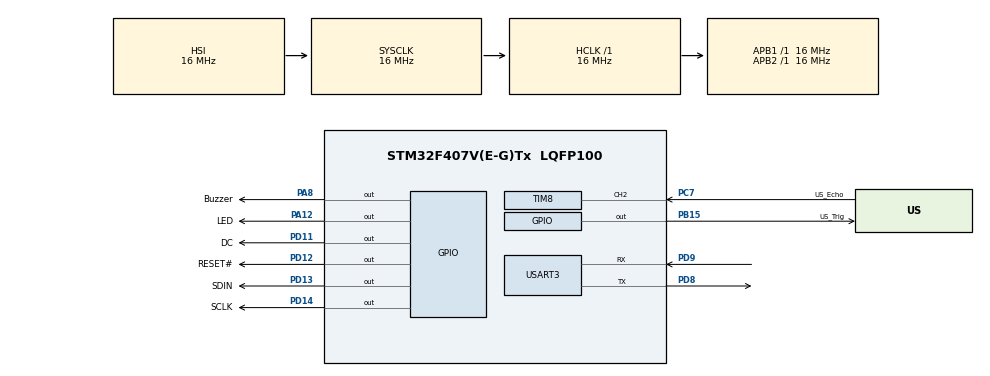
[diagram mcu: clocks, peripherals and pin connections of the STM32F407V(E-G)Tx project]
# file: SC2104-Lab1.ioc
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Mcu.Family=STM32F4
Mcu.Name=STM32F407V(E-G)Tx
Mcu.Package=LQFP100
NVIC.PriorityGroup=NVIC_PRIORITYGROUP_4
NVIC.TIM8_CC_IRQn=true\:0\:0\:false\:false\:true\:true\:true\:true
PA12.GPIO_Label=LED
PA12.Signal=GPIO_Output
PA13.Signal=SYS_JTMS-SWDIO
PA14.Signal=SYS_JTCK-SWCLK
PA8.GPIO_Label=Buzzer
PA8.Signal=GPIO_Output
PB15.GPIO_Label=US_Trig
PB15.Signal=GPIO_Output
PC7.GPIO_Label=US_Echo
PC7.Signal=S_TIM8_CH2
PD11.GPIO_Label=DC
PD11.Signal=GPIO_Output
PD12.GPIO_Label=RESET\#
PD12.Signal=GPIO_Output
PD13.GPIO_Label=SDIN
PD13.Signal=GPIO_Output
PD14.GPIO_Label=SCLK
PD14.Signal=GPIO_Output
PD8.Mode=Asynchronous
PD8.Signal=USART3_TX
PD9.Mode=Asynchronous
PD9.Signal=USART3_RX
ProjectManager.HeapSize=0x200
ProjectManager.StackSize=0x400
ProjectManager.TargetToolchain=STM32CubeIDE
RCC.AHBFreq_Value=16000000
RCC.APB1Freq_Value=16000000
RCC.APB2Freq_Value=16000000
RCC.CortexFreq_Value=16000000
RCC.HSE_VALUE=25000000
RCC.HSI_VALUE=16000000
RCC.LSE_VALUE=32768
RCC.SYSCLKFreq_VALUE=16000000
RCC.VCOOutputFreq_Value=192000000
SH.S_TIM8_CH2.0=TIM8_CH2,Input_Capture2_from_TI2
TIM8.Channel-Input_Capture2_from_TI2=TIM_CHANNEL_2
TIM8.ICPolarity_CH2=TIM_INPUTCHANNELPOLARITY_BOTHEDGE
USART3.VirtualMode=VM_ASYNC
VP_TIM6_VS_ClockSourceINT.Mode=Enable_Timer
VP_TIM8_VS_ClockSourceINT.Mode=Internal
board=custom

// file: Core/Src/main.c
/* USER CODE BEGIN Header */
/**
  ******************************************************************************
  * @file           : main.c
  * @brief          : Main program body
  ******************************************************************************
  * @attention
  *
  * Copyright (c) 2023 STMicroelectronics.
  * All rights reserved.
  *
  * This software is licensed under terms that can be found in the LICENSE file
  * in the root directory of this software component.
  * If no LICENSE file comes with this software, it is provided AS-IS.
  *
  ******************************************************************************
  */
/* USER CODE END Header */
#include "main.h"

/* USER CODE BEGIN Includes */
#include "oled.h"
#include <string.h>

/* USER CODE END Includes */

/* USER CODE BEGIN PTD */
#define ECHO_Port 	GPIOC
#define ECHO_Pin	GPIO_PIN_7
#define TRIG_Port	GPIOB
#define TRIG_Pin	GPIO_PIN_15
/* USER CODE END PTD */

 TIM_HandleTypeDef htim6;
TIM_HandleTypeDef htim8;

UART_HandleTypeDef huart3;

/* USER CODE BEGIN PV */
float echo =0;
float tc1, tc2;

/* USER CODE END PV */

void SystemClock_Config(void);
static void MX_GPIO_Init(void);
static void MX_USART3_UART_Init(void);
static void MX_TIM6_Init(void);
static void MX_TIM8_Init(void);
/* USER CODE BEGIN PFP */
void delay_us(uint16_t us);

/* USER CODE END PFP */

/* USER CODE BEGIN 0 */
float speedOfSound = 0.0343/2;
float distance;

/* USER CODE END 0 */

int main(void)
{
  /* USER CODE BEGIN 1 */
	uint8_t sbuf[15] = "Hello World! \n\r";
	uint8_t *OLED_buf;
	char buf[15];

	uint32_t numTicks;
  /* USER CODE END 1 */

  /* MCU Configuration--------------------------------------------------------*/

  /* Reset of all peripherals, Initializes the Flash interface and the Systick. */
  HAL_Init();

  /* Configure the system clock */
  SystemClock_Config();

  /* Initialize all configured peripherals */
  MX_GPIO_Init();
  MX_USART3_UART_Init();
  MX_TIM6_Init();
  MX_TIM8_Init();
  /* USER CODE BEGIN 2 */
  OLED_Init();
  OLED_ShowString(10,5, "SC2104");
  OLED_Refresh_Gram();

  /* USER CODE END 2 */

  /* Infinite loop */
  /* USER CODE BEGIN WHILE */
  while (1)
  {
	  //LED
	  /*
	  HAL_GPIO_WritePin(GPIOA, GPIO_PIN_12, GPIO_PIN_SET);
	  HAL_Delay(1000);
	  HAL_GPIO_WritePin(GPIOA, GPIO_PIN_12, GPIO_PIN_RESET);
	  HAL_Delay(1000);*/

	  //Buzzer
	  /*HAL_GPIO_WritePin(GPIOA, GPIO_PIN_8, GPIO_PIN_SET);
	  HAL_Delay(1000);
	  HAL_GPIO_WritePin(GPIOA, GPIO_PIN_8, GPIO_PIN_RESET);
	  HAL_Delay(1000);*/

	  //HELLO WORLD
	  //HAL_UART_Transmit(&huart3, sbuf, sizeof(sbuf), HAL_MAX_DELAY);

	  //Set TRIG to low for awhile
	  HAL_GPIO_WritePin(TRIG_Port, TRIG_Pin, GPIO_PIN_RESET);
	  HAL_Delay(50);

	  //Output 1us of Trig
	  HAL_GPIO_WritePin(TRIG_Port, TRIG_Pin, GPIO_PIN_SET);
	  delay_us(10);
	  HAL_GPIO_WritePin(TRIG_Port, TRIG_Pin, GPIO_PIN_RESET);
	  HAL_Delay(50);

	  //wait for rising edge
	  HAL_TIM_IC_Start_IT(&htim8, TIM_CHANNEL_2);
	  HAL_TIM_IC_CaptureCallback(&htim8);

	  //measure
	  sprintf(buf, "Echo = %5d us ", echo);
	  OLED_ShowString(10,40, &buf[0]);
	  //OLED_Refresh_Gram();

	  distance = echo * (343 /2);

	  sprintf(buf, "Dist = %5.1f cm ", distance);
	  OLED_ShowString(10,50, &buf[0]);
	  OLED_Refresh_Gram();

    /* USER CODE END WHILE */

  }
}

void SystemClock_Config(void)
{
  RCC_OscInitTypeDef RCC_OscInitStruct = {0};
  RCC_ClkInitTypeDef RCC_ClkInitStruct = {0};

  /** Configure the main internal regulator output voltage
  */
  __HAL_RCC_PWR_CLK_ENABLE();
  __HAL_PWR_VOLTAGESCALING_CONFIG(PWR_REGULATOR_VOLTAGE_SCALE1);

  /** Initializes the RCC Oscillators according to the specified parameters
  * in the RCC_OscInitTypeDef structure.
  */
  RCC_OscInitStruct.OscillatorType = RCC_OSCILLATORTYPE_HSI;
  RCC_OscInitStruct.HSIState = RCC_HSI_ON;
  RCC_OscInitStruct.HSICalibrationValue = RCC_HSICALIBRATION_DEFAULT;
  RCC_OscInitStruct.PLL.PLLState = RCC_PLL_NONE;
  if (HAL_RCC_OscConfig(&RCC_OscInitStruct) != HAL_OK)
  {
    Error_Handler();
  }

  /** Initializes the CPU, AHB and APB buses clocks
  */
  RCC_ClkInitStruct.ClockType = RCC_CLOCKTYPE_HCLK|RCC_CLOCKTYPE_SYSCLK
                              |RCC_CLOCKTYPE_PCLK1|RCC_CLOCKTYPE_PCLK2;
  RCC_ClkInitStruct.SYSCLKSource = RCC_SYSCLKSOURCE_HSI;
  RCC_ClkInitStruct.AHBCLKDivider = RCC_SYSCLK_DIV1;
  RCC_ClkInitStruct.APB1CLKDivider = RCC_HCLK_DIV1;
  RCC_ClkInitStruct.APB2CLKDivider = RCC_HCLK_DIV1;

  if (HAL_RCC_ClockConfig(&RCC_ClkInitStruct, FLASH_LATENCY_0) != HAL_OK)
  {
    Error_Handler();
  }
}

static void MX_TIM6_Init(void)
{

  TIM_MasterConfigTypeDef sMasterConfig = {0};

  htim6.Instance = TIM6;
  htim6.Init.Prescaler = 0;
  htim6.Init.CounterMode = TIM_COUNTERMODE_UP;
  htim6.Init.Period = 65535;
  htim6.Init.AutoReloadPreload = TIM_AUTORELOAD_PRELOAD_DISABLE;
  if (HAL_TIM_Base_Init(&htim6) != HAL_OK)
  {
    Error_Handler();
  }
  sMasterConfig.MasterOutputTrigger = TIM_TRGO_RESET;
  sMasterConfig.MasterSlaveMode = TIM_MASTERSLAVEMODE_DISABLE;
  if (HAL_TIMEx_MasterConfigSynchronization(&htim6, &sMasterConfig) != HAL_OK)
  {
    Error_Handler();
  }

}

static void MX_TIM8_Init(void)
{

  TIM_ClockConfigTypeDef sClockSourceConfig = {0};
  TIM_MasterConfigTypeDef sMasterConfig = {0};
  TIM_IC_InitTypeDef sConfigIC = {0};

  htim8.Instance = TIM8;
  htim8.Init.Prescaler = 0;
  htim8.Init.CounterMode = TIM_COUNTERMODE_UP;
  htim8.Init.Period = 65535;
  htim8.Init.ClockDivision = TIM_CLOCKDIVISION_DIV1;
  htim8.Init.RepetitionCounter = 0;
  htim8.Init.AutoReloadPreload = TIM_AUTORELOAD_PRELOAD_DISABLE;
  if (HAL_TIM_Base_Init(&htim8) != HAL_OK)
  {
    Error_Handler();
  }
  sClockSourceConfig.ClockSource = TIM_CLOCKSOURCE_INTERNAL;
  if (HAL_TIM_ConfigClockSource(&htim8, &sClockSourceConfig) != HAL_OK)
  {
    Error_Handler();
  }
  if (HAL_TIM_IC_Init(&htim8) != HAL_OK)
  {
    Error_Handler();
  }
  sMasterConfig.MasterOutputTrigger = TIM_TRGO_RESET;
  sMasterConfig.MasterSlaveMode = TIM_MASTERSLAVEMODE_DISABLE;
  if (HAL_TIMEx_MasterConfigSynchronization(&htim8, &sMasterConfig) != HAL_OK)
  {
    Error_Handler();
  }
  sConfigIC.ICPolarity = TIM_INPUTCHANNELPOLARITY_BOTHEDGE;
  sConfigIC.ICSelection = TIM_ICSELECTION_DIRECTTI;
  sConfigIC.ICPrescaler = TIM_ICPSC_DIV1;
  sConfigIC.ICFilter = 0;
  if (HAL_TIM_IC_ConfigChannel(&htim8, &sConfigIC, TIM_CHANNEL_2) != HAL_OK)
  {
    Error_Handler();
  }

}

static void MX_USART3_UART_Init(void)
{

  huart3.Instance = USART3;
  huart3.Init.BaudRate = 115200;
  huart3.Init.WordLength = UART_WORDLENGTH_8B;
  huart3.Init.StopBits = UART_STOPBITS_1;
  huart3.Init.Parity = UART_PARITY_NONE;
  huart3.Init.Mode = UART_MODE_TX_RX;
  huart3.Init.HwFlowCtl = UART_HWCONTROL_NONE;
  huart3.Init.OverSampling = UART_OVERSAMPLING_16;
  if (HAL_UART_Init(&huart3) != HAL_OK)
  {
    Error_Handler();
  }

}

static void MX_GPIO_Init(void)
{
  GPIO_InitTypeDef GPIO_InitStruct = {0};

  /* GPIO Ports Clock Enable */
  __HAL_RCC_GPIOB_CLK_ENABLE();
  __HAL_RCC_GPIOD_CLK_ENABLE();
  __HAL_RCC_GPIOC_CLK_ENABLE();
  __HAL_RCC_GPIOA_CLK_ENABLE();

  /*Configure GPIO pin Output Level */
  HAL_GPIO_WritePin(US_Trig_GPIO_Port, US_Trig_Pin, GPIO_PIN_RESET);

  /*Configure GPIO pin Output Level */
  HAL_GPIO_WritePin(GPIOD, DC_Pin|RESET__Pin|SDIN_Pin|SCLK_Pin, GPIO_PIN_RESET);

  /*Configure GPIO pin Output Level */
  HAL_GPIO_WritePin(GPIOA, Buzzer_Pin|LED_Pin, GPIO_PIN_RESET);

  /*Configure GPIO pin : US_Trig_Pin */
  GPIO_InitStruct.Pin = US_Trig_Pin;
  GPIO_InitStruct.Mode = GPIO_MODE_OUTPUT_PP;
  GPIO_InitStruct.Pull = GPIO_NOPULL;
  GPIO_InitStruct.Speed = GPIO_SPEED_FREQ_LOW;
  HAL_GPIO_Init(US_Trig_GPIO_Port, &GPIO_InitStruct);

  /*Configure GPIO pins : DC_Pin RESET__Pin SDIN_Pin SCLK_Pin */
  GPIO_InitStruct.Pin = DC_Pin|RESET__Pin|SDIN_Pin|SCLK_Pin;
  GPIO_InitStruct.Mode = GPIO_MODE_OUTPUT_PP;
  GPIO_InitStruct.Pull = GPIO_NOPULL;
  GPIO_InitStruct.Speed = GPIO_SPEED_FREQ_LOW;
  HAL_GPIO_Init(GPIOD, &GPIO_InitStruct);

  /*Configure GPIO pins : Buzzer_Pin LED_Pin */
  GPIO_InitStruct.Pin = Buzzer_Pin|LED_Pin;
  GPIO_InitStruct.Mode = GPIO_MODE_OUTPUT_PP;
  GPIO_InitStruct.Pull = GPIO_NOPULL;
  GPIO_InitStruct.Speed = GPIO_SPEED_FREQ_LOW;
  HAL_GPIO_Init(GPIOA, &GPIO_InitStruct);

}

/* USER CODE BEGIN 4 */
void delay_us(uint16_t us){
	HAL_TIM_Base_Start(&htim6);
	__HAL_TIM_SET_COUNTER(&htim6, 0);

	while(__HAL_TIM_GET_COUNTER(&htim6) < us);
}

void HAL_TIM_IC_CaptureCallback(TIM_HandleTypeDef *htim){

	if(htim==&htim8){
		if(HAL_GPIO_ReadPin(GPIOC, GPIO_PIN_7) == GPIO_PIN_SET){	//If pin on high, means positive edge
			tc1 = HAL_TIM_ReadCapturedValue(htim, TIM_CHANNEL_2);	//Retrive value and store in tc1
		} else if (HAL_GPIO_ReadPin(GPIOC, GPIO_PIN_7) == GPIO_PIN_RESET){	//If pin on low means negative edge
			tc2 = HAL_TIM_ReadCapturedValue(htim, TIM_CHANNEL_2);	//Retrive val and store in tc2
			if (tc2 > tc1){
				echo = tc2-tc1;		//Calculate the differnce = width of pulse
			} else {
				echo = (65536-tc1)+tc2;
			}
		}

	}
}

/* USER CODE END 4 */

void Error_Handler(void)
{
  __disable_irq();
  while (1)
  {
  }
}
